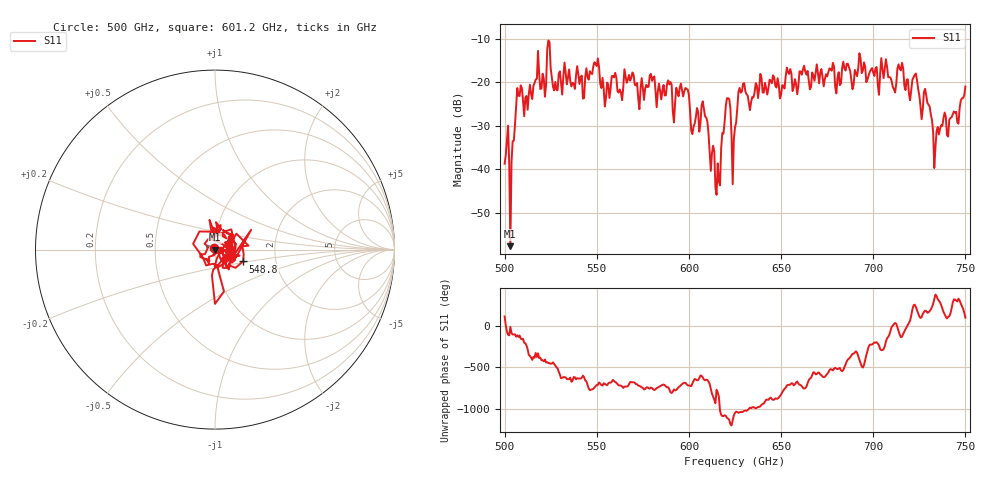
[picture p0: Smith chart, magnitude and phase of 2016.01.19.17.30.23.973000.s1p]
!Created with skrf (http://scikit-rf.org).
# GHz S RI R 50.0
!freq ReS11 ImS11
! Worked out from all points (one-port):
!   401 points, 500 GHz to 750 GHz, reference 50 ohm
!   lowest |S11| = -57.7 dB at 503.1 GHz (marker M1), VSWR 1.00, Z = 50.1 - j0.0264 ohm
!   |S11| at or under -10 dB: start of sweep to end of sweep
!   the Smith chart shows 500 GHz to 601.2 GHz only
!   S11 on the Smith chart (normalised r, x): 500 GHz: 0.99, +0.02; 548.8 GHz: 1.36, -0.18; 601.2 GHz: 1.06, -0.01
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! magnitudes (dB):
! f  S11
! 500 GHz  -38.7
! 503.1 GHz  -57.7
! 508.1 GHz  -23.2
! 521.2 GHz  -19.2
! 524.4 GHz  -10.8
! 527.5 GHz  -19.9
! 531.2 GHz  -22.8
! 541.9 GHz  -18.5
! 548.8 GHz  -15.4
! 562.5 GHz  -21.7
! 568.8 GHz  -19.0
! 593.8 GHz  -22.2
! 598.8 GHz  -21.5
! 601.2 GHz  -31.1
! 608.1 GHz  -26.2
! 615.6 GHz  -38.7
! 620.6 GHz  -23.7
! 625 GHz  -30.4
! 628.8 GHz  -22.1
! 656.2 GHz  -22.0
! 687.5 GHz  -17.4
! 705.6 GHz  -19.1
! 711.2 GHz  -21.6
! 715 GHz  -17.3
! 718.8 GHz  -19.3
! 728.8 GHz  -23.0
! 734.4 GHz  -31.2
! 750 GHz  -21.0
